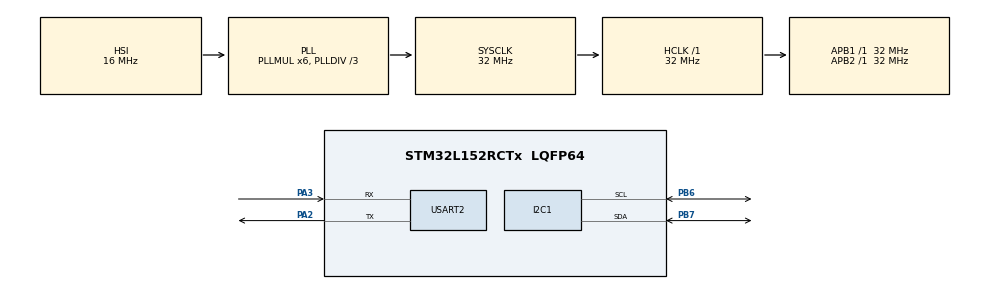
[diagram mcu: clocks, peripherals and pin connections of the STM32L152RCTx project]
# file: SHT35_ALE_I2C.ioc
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Mcu.Family=STM32L1
Mcu.Name=STM32L152RCTx
Mcu.Package=LQFP64
NVIC.PriorityGroup=NVIC_PRIORITYGROUP_0
PA2.Mode=Asynchronous
PA2.Signal=USART2_TX
PA3.Mode=Asynchronous
PA3.Signal=USART2_RX
PB6.Mode=I2C
PB6.Signal=I2C1_SCL
PB7.Mode=I2C
PB7.Signal=I2C1_SDA
ProjectManager.HeapSize=0x200
ProjectManager.StackSize=0x400
ProjectManager.TargetToolchain=STM32CubeIDE
RCC.48MHZClocksFreq_Value=48000000
RCC.AHBFreq_Value=32000000
RCC.APB1Freq_Value=32000000
RCC.APB1TimFreq_Value=32000000
RCC.APB2Freq_Value=32000000
RCC.APB2TimFreq_Value=32000000
RCC.HCLKFreq_Value=32000000
RCC.HSE_VALUE=8000000
RCC.HSI_VALUE=16000000
RCC.MSI_VALUE=2097000
RCC.PLLDIV=RCC_PLL_DIV3
RCC.PLLMUL=RCC_PLL_MUL6
RCC.RTCClockSelectionVirtual=RCC_RTCCLKSOURCE_LSE
RCC.SYSCLKFreq_VALUE=32000000
RCC.SYSCLKSource=RCC_SYSCLKSOURCE_PLLCLK
RCC.USBOutput=48000000
RCC.VCOOutputFreq_Value=96000000
USART2.VirtualMode=VM_ASYNC
board=STM32L152C-DISCO

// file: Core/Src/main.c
/* USER CODE BEGIN Header */
/**
  ******************************************************************************
  * @file           : main.c
  * @brief          : Main program body
  ******************************************************************************
  * @attention
  *
  * Copyright (c) 2023 STMicroelectronics.
  * All rights reserved.
  *
  * This software is licensed under terms that can be found in the LICENSE file
  * in the root directory of this software component.
  * If no LICENSE file comes with this software, it is provided AS-IS.
  *
  ******************************************************************************
  */
/* USER CODE END Header */
#include "main.h"

/* USER CODE BEGIN Includes */
#include"sht3x.h"
#include<stdio.h>

/* USER CODE END Includes */

I2C_HandleTypeDef hi2c1;

UART_HandleTypeDef huart2;

void SystemClock_Config(void);
static void MX_GPIO_Init(void);
static void MX_I2C1_Init(void);
static void MX_USART2_UART_Init(void);

/* USER CODE BEGIN 0 */
void i2c_scanner(I2C_HandleTypeDef *i2c) {

	printf("Scanning I2C bus----->:\r\n");
	HAL_StatusTypeDef ret;
	uint16_t i = 0;

	for (i = 1; i < 128; i++) {
		ret = HAL_I2C_IsDeviceReady(i2c, (uint16_t) (i << 1), 3, 10);
		if (ret != HAL_OK) /* No ACK Received At That Address */
		{
			printf("-");
		} else if (ret == HAL_OK) {
			printf("0x%X", i);
		}
	}
	printf("\r\n");
}

/* USER CODE END 0 */

int main(void)
{

  /* MCU Configuration--------------------------------------------------------*/

  /* Reset of all peripherals, Initializes the Flash interface and the Systick. */
  HAL_Init();

  /* Configure the system clock */
  SystemClock_Config();

  /* Initialize all configured peripherals */
  MX_GPIO_Init();
  MX_I2C1_Init();
  MX_USART2_UART_Init();
  /* USER CODE BEGIN 2 */
  i2c_scanner(&hi2c1);

  // Create the handle for the sensor.
  sht3x_handle_t handle = {
      .i2c_handle = &hi2c1,
      .device_address = SHT3X_I2C_DEVICE_ADDRESS_ADDR_PIN_LOW
  };

  // Initialise sensor (tests connection by reading the status register).
  if (!sht3x_init(&handle)) {
      printf("SHT3x access failed.\n\r");
  }

  /* USER CODE END 2 */

  /* Infinite loop */
  while (1)
  {

    /* USER CODE BEGIN 3 */

	  // Read temperature and humidity.
	  float temperature, humidity;
	  sht3x_read_temperature_and_humidity(&handle, &temperature, &humidity);
	  printf("Initial temperature: %.2fC, humidity: %.2f%%RH\n\r", temperature, humidity);
	  HAL_Delay(1000);

  }
  /* USER CODE END 3 */
}

void SystemClock_Config(void)
{
  RCC_OscInitTypeDef RCC_OscInitStruct = {0};
  RCC_ClkInitTypeDef RCC_ClkInitStruct = {0};

  /** Configure the main internal regulator output voltage
  */
  __HAL_PWR_VOLTAGESCALING_CONFIG(PWR_REGULATOR_VOLTAGE_SCALE1);

  /** Initializes the RCC Oscillators according to the specified parameters
  * in the RCC_OscInitTypeDef structure.
  */
  RCC_OscInitStruct.OscillatorType = RCC_OSCILLATORTYPE_HSI;
  RCC_OscInitStruct.HSIState = RCC_HSI_ON;
  RCC_OscInitStruct.HSICalibrationValue = RCC_HSICALIBRATION_DEFAULT;
  RCC_OscInitStruct.PLL.PLLState = RCC_PLL_ON;
  RCC_OscInitStruct.PLL.PLLSource = RCC_PLLSOURCE_HSI;
  RCC_OscInitStruct.PLL.PLLMUL = RCC_PLL_MUL6;
  RCC_OscInitStruct.PLL.PLLDIV = RCC_PLL_DIV3;
  if (HAL_RCC_OscConfig(&RCC_OscInitStruct) != HAL_OK)
  {
    Error_Handler();
  }

  /** Initializes the CPU, AHB and APB buses clocks
  */
  RCC_ClkInitStruct.ClockType = RCC_CLOCKTYPE_HCLK|RCC_CLOCKTYPE_SYSCLK
                              |RCC_CLOCKTYPE_PCLK1|RCC_CLOCKTYPE_PCLK2;
  RCC_ClkInitStruct.SYSCLKSource = RCC_SYSCLKSOURCE_PLLCLK;
  RCC_ClkInitStruct.AHBCLKDivider = RCC_SYSCLK_DIV1;
  RCC_ClkInitStruct.APB1CLKDivider = RCC_HCLK_DIV1;
  RCC_ClkInitStruct.APB2CLKDivider = RCC_HCLK_DIV1;

  if (HAL_RCC_ClockConfig(&RCC_ClkInitStruct, FLASH_LATENCY_1) != HAL_OK)
  {
    Error_Handler();
  }
}

static void MX_I2C1_Init(void)
{

  hi2c1.Instance = I2C1;
  hi2c1.Init.ClockSpeed = 100000;
  hi2c1.Init.DutyCycle = I2C_DUTYCYCLE_2;
  hi2c1.Init.OwnAddress1 = 0;
  hi2c1.Init.AddressingMode = I2C_ADDRESSINGMODE_7BIT;
  hi2c1.Init.DualAddressMode = I2C_DUALADDRESS_DISABLE;
  hi2c1.Init.OwnAddress2 = 0;
  hi2c1.Init.GeneralCallMode = I2C_GENERALCALL_DISABLE;
  hi2c1.Init.NoStretchMode = I2C_NOSTRETCH_DISABLE;
  if (HAL_I2C_Init(&hi2c1) != HAL_OK)
  {
    Error_Handler();
  }

}

static void MX_USART2_UART_Init(void)
{

  huart2.Instance = USART2;
  huart2.Init.BaudRate = 115200;
  huart2.Init.WordLength = UART_WORDLENGTH_8B;
  huart2.Init.StopBits = UART_STOPBITS_1;
  huart2.Init.Parity = UART_PARITY_NONE;
  huart2.Init.Mode = UART_MODE_TX_RX;
  huart2.Init.HwFlowCtl = UART_HWCONTROL_NONE;
  huart2.Init.OverSampling = UART_OVERSAMPLING_16;
  if (HAL_UART_Init(&huart2) != HAL_OK)
  {
    Error_Handler();
  }

}

static void MX_GPIO_Init(void)
{

  /* GPIO Ports Clock Enable */
  __HAL_RCC_GPIOA_CLK_ENABLE();
  __HAL_RCC_GPIOB_CLK_ENABLE();

}

void Error_Handler(void)
{
  __disable_irq();
  while (1)
  {
  }
}
